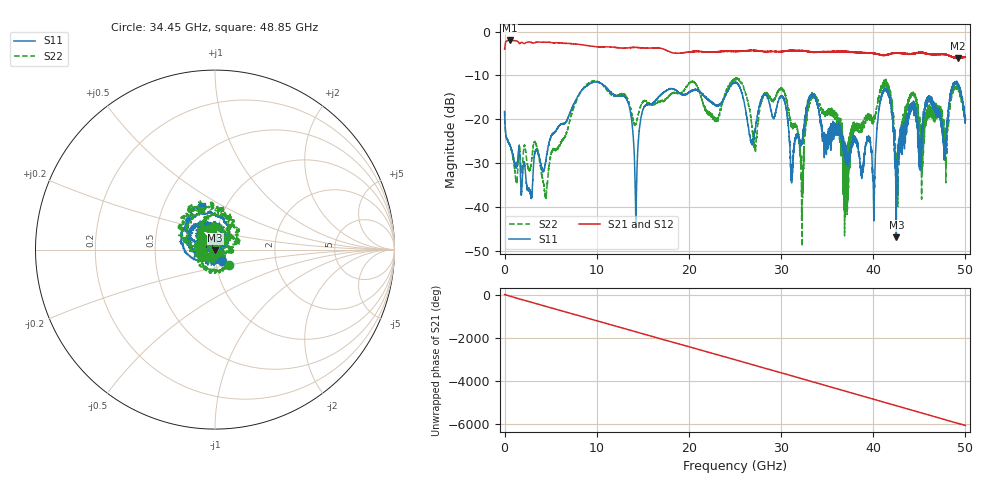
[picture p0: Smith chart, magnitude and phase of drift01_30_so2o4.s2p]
!Created with skrf (http://scikit-rf.org).
# Hz S RI R 50.0
!freq ReS11 ImS11 ReS21 ImS21 ReS12 ImS12 ReS22 ImS22
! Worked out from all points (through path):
!   10001 points, 300 kHz to 50 GHz, reference 50 ohm
!   highest |S21| = -2.00 dB at 580.3 MHz (marker M1); lowest = -6.1 dB at 49.21 GHz (marker M2)
!   group delay of S21, straight-line fit = 336 ps
!   lowest |S11| = -47.0 dB at 42.51 GHz (marker M3), VSWR 1.01, Z = 50.1 - j0.444 ohm
!   |S11| at or under -10 dB: start of sweep to end of sweep
!   |S22| runs from -49.0 to -10.5 dB; largest |S21 - S12| = 0.023
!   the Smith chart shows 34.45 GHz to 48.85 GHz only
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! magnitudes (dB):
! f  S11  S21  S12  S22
! 300 kHz  -18.4  -4.0  -4.0  -18.0
! 580.3 MHz  -26.0  -2.0  -2.0  -26.1
! 4.435 GHz  -29.9  -2.4  -2.4  -37.0
! 8.335 GHz  -13.5  -3.0  -3.0  -13.5
! 13.16 GHz  -15.2  -3.8  -3.8  -14.6
! 14.25 GHz  -44.9  -3.6  -3.6  -21.1
! 14.98 GHz  -18.1  -3.7  -3.7  -16.1
! 16.67 GHz  -15.0  -3.7  -3.7  -15.9
! 25 GHz  -11.6  -4.5  -4.6  -10.9
! 27.15 GHz  -22.8  -4.3  -4.3  -26.5
! 30.2 GHz  -15.0  -4.5  -4.5  -13.4
! 31.14 GHz  -32.6  -4.3  -4.3  -21.2
! 32.26 GHz  -25.3  -4.4  -4.4  -40.0
! 33.34 GHz  -14.3  -4.6  -4.6  -14.6
! 37.03 GHz  -26.3  -4.5  -4.6  -37.9
! 40.06 GHz  -42.2  -4.9  -4.9  -20.5
! 41.67 GHz  -14.1  -5.2  -5.1  -12.5
! 42.51 GHz  -47.0  -4.9  -4.9  -28.2
! 44.17 GHz  -17.0  -5.0  -5.1  -14.0
! 45.32 GHz  -23.2  -4.8  -4.8  -25.3
! 49.21 GHz  -11.9  -6.1  -6.0  -12.8
! 50 GHz  -19.8  -5.8  -5.8  -19.5
